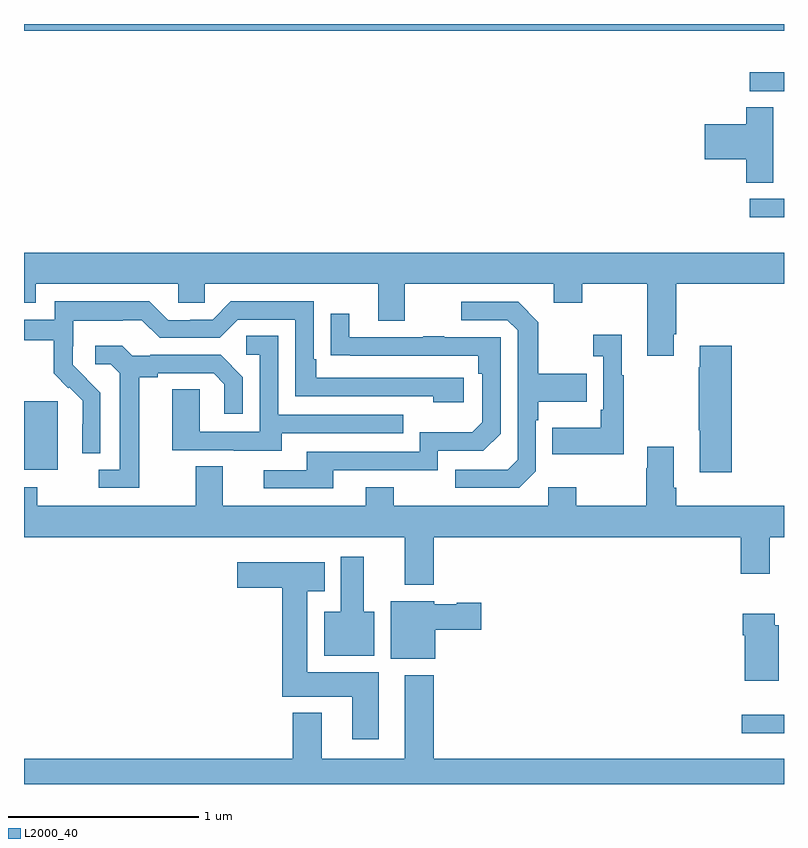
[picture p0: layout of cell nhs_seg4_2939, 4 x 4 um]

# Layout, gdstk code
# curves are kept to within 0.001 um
import gdstk
lib = gdstk.Library(unit=1e-6, precision=1e-09)
def R(c, l, rs):  # rectangles x0, y0, x1, y1
    for r in rs: c.add(gdstk.rectangle(r[:2], r[2:], *l))
def P(c, l, *ps):  # polygons
    for p in ps: c.add(gdstk.Polygon(p, *l))
L2000_40 = (2000, 40)

nhs_seg4_2939 = lib.new_cell('nhs_seg4_2939')
R(nhs_seg4_2939, L2000_40, [(270.777,749.168,271,749.265), (267,750.554,267.178,750.915), (270.819,751.884,271,751.98), (270.819,752.547,271,752.646), (267,752.864,271,752.9)])
P(nhs_seg4_2939, L2000_40, [(270.943,752.462),(270.8,752.462),(270.8,752.372),(270.582,752.372),(270.582,752.189),(270.8,752.189),(270.8,752.065),(270.943,752.065)],
  [(270.421,751.267),(270.434,751.267),(270.434,751.532),(271,751.532),(271,751.696),(267,751.696),(267,751.433),(267.061,751.433),(267.061,751.532),(267.813,751.532),(267.813,751.434),(267.951,751.434),(267.951,751.532),(268.865,751.532),(268.865,751.338),(269.005,751.338),(269.005,751.532),(269.789,751.532),(269.789,751.433),(269.937,751.433),(269.937,751.532),(270.281,751.532),(270.281,751.155),(270.421,751.155)],
  [(267.402,750.958),(267.256,751.106),(267.256,751.203),(267.258,751.203),(267.258,751.337),(267.521,751.337),(267.521,751.341),(267.621,751.341),(267.714,751.248),(268.029,751.248),(268.125,751.344),(268.428,751.344),(268.428,750.942),(269.153,750.942),(269.153,750.908),(269.314,750.908),(269.314,751.038),(268.537,751.038),(268.537,751.135),(268.524,751.135),(268.524,751.44),(268.089,751.44),(267.993,751.344),(267.875,751.344),(267.875,751.341),(267.759,751.341),(267.659,751.441),(267.162,751.441),(267.162,751.344),(267,751.344),(267,751.236),(267.157,751.236),(267.157,751.061),(267.234,750.984),(267.237,750.987),(267.308,750.917),(267.308,750.794),(267.306,750.794),(267.306,750.64),(267.402,750.64)],
  [(269.694,750.546),(269.694,750.815),(269.707,750.815),(269.707,750.911),(269.963,750.911),(269.963,751.059),(269.707,751.059),(269.707,751.331),(269.601,751.437),(269.301,751.437),(269.301,751.341),(269.544,751.341),(269.598,751.287),(269.598,750.606),(269.547,750.555),(269.271,750.555),(269.271,750.459),(269.607,750.459)],
  [(268.627,750.552),(269.178,750.552),(269.178,750.654),(269.418,750.654),(269.508,750.744),(269.508,751.251),(269.213,751.251),(269.213,751.256),(269.101,751.256),(269.101,751.251),(268.711,751.251),(268.711,751.375),(268.615,751.375),(268.615,751.156),(269.392,751.155),(269.392,751.058),(269.412,751.058),(269.412,750.804),(269.359,750.751),(269.082,750.751),(269.082,750.648),(268.487,750.648),(268.487,750.552),(268.263,750.552),(268.263,750.456),(268.627,750.456)],
  [(270.157,751.051),(270.145,751.051),(270.145,751.264),(269.997,751.264),(269.997,751.151),(270.048,751.151),(270.048,750.871),(270.036,750.871),(270.036,750.775),(269.779,750.775),(269.779,750.635),(270.157,750.635)],
  [(268.357,750.747),(268.997,750.747),(268.997,750.843),(268.338,750.843),(268.338,751.259),(268.17,751.259),(268.17,751.158),(268.242,751.158),(268.242,750.753),(267.924,750.753),(267.924,750.977),(267.779,750.977),(267.779,750.657),(268.103,750.657),(268.103,750.653),(268.357,750.653)],
  [(270.725,751.207),(270.557,751.207),(270.557,751.094),(270.55,751.094),(270.55,750.763),(270.557,750.763),(270.557,750.54),(270.725,750.54)],
  [(267.607,751.04),(267.703,751.04),(267.703,751.062),(267.998,751.062),(268.055,751.005),(268.055,750.849),(268.152,750.849),(268.152,751.042),(268.036,751.158),(267.664,751.158),(267.664,751.155),(267.57,751.155),(267.518,751.207),(267.375,751.207),(267.375,751.11),(267.456,751.11),(267.503,751.063),(267.503,750.555),(267.393,750.555),(267.393,750.459),(267.607,750.459)],
  [(269.156,750.2),(270.773,750.2),(270.773,750.006),(270.925,750.006),(270.925,750.2),(271,750.2),(271,750.364),(270.434,750.364),(270.434,750.46),(270.421,750.46),(270.421,750.676),(270.281,750.676),(270.281,750.563),(270.274,750.563),(270.274,750.364),(269.907,750.364),(269.907,750.463),(269.76,750.463),(269.76,750.364),(268.947,750.364),(268.947,750.463),(268.799,750.463),(268.799,750.364),(268.045,750.364),(268.045,750.572),(267.905,750.572),(267.905,750.364),(267.069,750.364),(267.069,750.463),(267,750.463),(267,750.2),(269.003,750.2),(269.003,749.948),(269.156,749.948)],
  [(268.843,749.806),(268.789,749.806),(268.789,750.097),(268.667,750.097),(268.667,749.806),(268.58,749.806),(268.58,749.576),(268.843,749.576)],
  [(268.867,749.488),(268.492,749.488),(268.492,749.915),(268.582,749.915),(268.582,750.067),(268.122,750.067),(268.122,749.933),(268.358,749.933),(268.358,749.36),(268.727,749.36),(268.727,749.136),(268.867,749.136)],
  [(269.164,749.711),(269.407,749.711),(269.407,749.853),(269.277,749.853),(269.277,749.845),(269.16,749.845),(269.16,749.863),(268.931,749.863),(268.931,749.558),(269.164,749.558)],
  [(270.973,749.736),(270.952,749.736),(270.952,749.797),(270.782,749.797),(270.782,749.684),(270.794,749.684),(270.794,749.444),(270.973,749.444)],
  [(271,749.032),(269.156,749.032),(269.156,749.473),(269.003,749.473),(269.003,749.032),(268.567,749.032),(268.567,749.275),(268.415,749.275),(268.415,749.032),(267,749.032),(267,748.9),(271,748.9)])

lib.write_gds('nhs_seg4_2939.gds')
